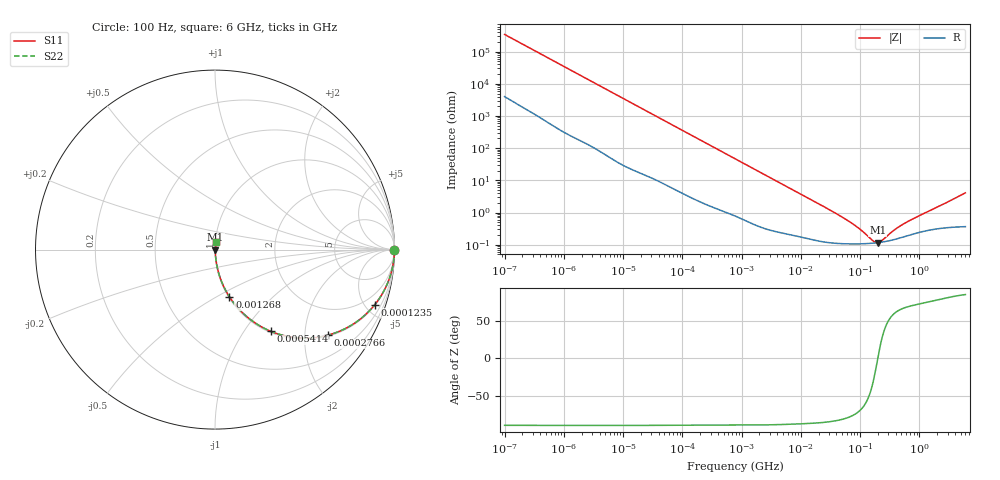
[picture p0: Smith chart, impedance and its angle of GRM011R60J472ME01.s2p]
!Murata Part Number: GRM011R60J472ME01
!These Parameters are Measured in Series Mode Connection
!Data Generated on Mar 30, 2021
!  o--ll--o
!Port1  Port2
!  o------o
!Operation Temp=25[degC], DC Bias Voltage=0[V]
!Freq. Start=100[Hz] Stop=6[GHz] 401[Steps]
# Hz S RI R 50
!Freq.(Hz) S11(Real) S11(Imag) S21(Real) S21(Imag) S12(Real) S12(Imag) S22(Real) S22(Imag)
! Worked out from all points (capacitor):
!   401 points, 100 Hz to 6 GHz, reference 50 ohm
!   read as one part in series: C = 4.63 nF near 109 Hz
!   lowest |Z| = 116 mohm at 199.7 MHz (marker M1)
!   series resonance near 199.3 MHz, so ESL is about 140 pH
!   S11 on the Smith chart (normalised r, x): 100 Hz: open; 123.5 kHz: 1.06, -5.79; 276.6 kHz: 1.03, -2.60; 541.4 kHz: 1.02, -1.34; 1.268 MHz: 1.01, -0.58; 6 GHz: 1.01, +0.08
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100  1 -0.000292  3.5e-06 0.000292  3.5e-06 0.000292  1 -0.000292
2008  0.9999 -0.00575  8.68e-05 0.00575  8.68e-05 0.00575  0.9999 -0.00575
12592  0.9984 -0.0356  0.00157 0.0356  0.00157 0.0356  0.9984 -0.0356
40335  0.9861 -0.1118  0.0139 0.1118  0.0139 0.1118  0.9861 -0.1118
123542  0.8909 -0.3063  0.1091 0.3063  0.1091 0.3063  0.8909 -0.3063
184852  0.7876 -0.4032  0.2124 0.4032  0.2124 0.4032  0.7876 -0.4032
276587  0.6271 -0.4773  0.3729 0.4773  0.3729 0.4773  0.6271 -0.4773
378399  0.4763 -0.4926  0.5237 0.4926  0.5237 0.4926  0.4763 -0.4926
541393  0.3114 -0.4555  0.6886 0.4555  0.6886 0.4555  0.3114 -0.4555
774597  0.1842 -0.3794  0.8158 0.3794  0.8158 0.3794  0.1842 -0.3794
1267578  0.0806 -0.2633  0.9194 0.2633  0.9194 0.2633  0.0806 -0.2633
3712478  0.0122 -0.0976  0.9878 0.0976  0.9878 0.0976  0.0122 -0.0976
1.555665e7  0.00199 -0.0239  0.998 0.0239  0.998 0.0239  0.00199 -0.0239
6.233367e7  0.00109 -0.00547  0.9989 0.00547  0.9989 0.00547  0.00109 -0.00547
9.753859e7  0.00107 -0.00294  0.9989 0.00294  0.9989 0.00294  0.00107 -0.00294
1.669249e8  0.00112 -0.000668  0.9989 0.000668  0.9989 0.000668  0.00112 -0.000668
1.996653e8  0.00115 7.6e-06  0.9988 -7.6e-06  0.9988 -7.6e-06  0.00115 7.6e-06
2.283698e8  0.00119 0.000508  0.9988 -0.000508  0.9988 -0.000508  0.00119 0.000508
3.124326e8  0.00133 0.0017  0.9987 -0.0017  0.9987 -0.0017  0.00133 0.0017
4.470121e8  0.00158 0.00317  0.9984 -0.00317  0.9984 -0.00317  0.00158 0.00317
6.688484e8  0.00198 0.0051  0.998 -0.0051  0.998 -0.0051  0.00198 0.0051
6e9  0.00527 0.0404  0.9947 -0.0404  0.9947 -0.0404  0.00527 0.0404
